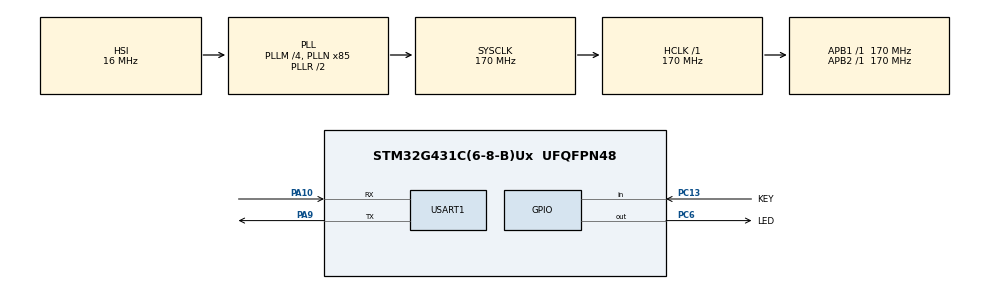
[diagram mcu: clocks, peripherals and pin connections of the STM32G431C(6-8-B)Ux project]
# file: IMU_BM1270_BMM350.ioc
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Dma.Request0=TIM1_UP
Dma.Request1=USART1_RX
Dma.Request2=USART1_TX
Dma.TIM1_UP.0.Direction=DMA_PERIPH_TO_MEMORY
Dma.TIM1_UP.0.EventEnable=DISABLE
Dma.TIM1_UP.0.Instance=DMA1_Channel2
Dma.TIM1_UP.0.MemDataAlignment=DMA_MDATAALIGN_HALFWORD
Dma.TIM1_UP.0.MemInc=DMA_MINC_ENABLE
Dma.TIM1_UP.0.Mode=DMA_NORMAL
Dma.TIM1_UP.0.PeriphDataAlignment=DMA_PDATAALIGN_HALFWORD
Dma.TIM1_UP.0.PeriphInc=DMA_PINC_DISABLE
Dma.TIM1_UP.0.Polarity=HAL_DMAMUX_REQ_GEN_RISING
Dma.TIM1_UP.0.Priority=DMA_PRIORITY_MEDIUM
Dma.TIM1_UP.0.RequestNumber=1
Dma.TIM1_UP.0.SignalID=NONE
Dma.TIM1_UP.0.SyncEnable=DISABLE
Dma.TIM1_UP.0.SyncPolarity=HAL_DMAMUX_SYNC_NO_EVENT
Dma.TIM1_UP.0.SyncRequestNumber=1
Dma.TIM1_UP.0.SyncSignalID=NONE
Dma.USART1_RX.1.Direction=DMA_PERIPH_TO_MEMORY
Dma.USART1_RX.1.EventEnable=DISABLE
Dma.USART1_RX.1.Instance=DMA1_Channel1
Dma.USART1_RX.1.MemDataAlignment=DMA_MDATAALIGN_BYTE
Dma.USART1_RX.1.MemInc=DMA_MINC_ENABLE
Dma.USART1_RX.1.Mode=DMA_NORMAL
Dma.USART1_RX.1.PeriphDataAlignment=DMA_PDATAALIGN_BYTE
Dma.USART1_RX.1.PeriphInc=DMA_PINC_DISABLE
Dma.USART1_RX.1.Polarity=HAL_DMAMUX_REQ_GEN_RISING
Dma.USART1_RX.1.Priority=DMA_PRIORITY_MEDIUM
Dma.USART1_RX.1.RequestNumber=1
Dma.USART1_RX.1.SignalID=NONE
Dma.USART1_RX.1.SyncEnable=DISABLE
Dma.USART1_RX.1.SyncPolarity=HAL_DMAMUX_SYNC_NO_EVENT
Dma.USART1_RX.1.SyncRequestNumber=1
Dma.USART1_RX.1.SyncSignalID=NONE
Dma.USART1_TX.2.Direction=DMA_MEMORY_TO_PERIPH
Dma.USART1_TX.2.EventEnable=DISABLE
Dma.USART1_TX.2.Instance=DMA1_Channel3
Dma.USART1_TX.2.MemDataAlignment=DMA_MDATAALIGN_BYTE
Dma.USART1_TX.2.MemInc=DMA_MINC_ENABLE
Dma.USART1_TX.2.Mode=DMA_NORMAL
Dma.USART1_TX.2.PeriphDataAlignment=DMA_PDATAALIGN_BYTE
Dma.USART1_TX.2.PeriphInc=DMA_PINC_DISABLE
Dma.USART1_TX.2.Polarity=HAL_DMAMUX_REQ_GEN_RISING
Dma.USART1_TX.2.Priority=DMA_PRIORITY_MEDIUM
Dma.USART1_TX.2.RequestNumber=1
Dma.USART1_TX.2.SignalID=NONE
Dma.USART1_TX.2.SyncEnable=DISABLE
Dma.USART1_TX.2.SyncPolarity=HAL_DMAMUX_SYNC_NO_EVENT
Dma.USART1_TX.2.SyncRequestNumber=1
Dma.USART1_TX.2.SyncSignalID=NONE
Mcu.Family=STM32G4
Mcu.Name=STM32G431C(6-8-B)Ux
Mcu.Package=UFQFPN48
NVIC.DMA1_Channel1_IRQn=true\:0\:0\:false\:false\:true\:false\:true\:true
NVIC.DMA1_Channel2_IRQn=true\:0\:0\:false\:false\:true\:false\:true\:true
NVIC.DMA1_Channel3_IRQn=true\:0\:0\:false\:false\:true\:false\:true\:true
NVIC.PriorityGroup=NVIC_PRIORITYGROUP_4
NVIC.TIM1_UP_TIM16_IRQn=true\:0\:0\:false\:false\:true\:true\:true\:true
NVIC.USART1_IRQn=true\:0\:0\:false\:false\:true\:true\:true\:true
PA10.Mode=Asynchronous
PA10.Signal=USART1_RX
PA13.Mode=Serial_Wire
PA13.Signal=SYS_JTMS-SWDIO
PA14.Mode=Serial_Wire
PA14.Signal=SYS_JTCK-SWCLK
PA9.Mode=Asynchronous
PA9.Signal=USART1_TX
PC13.GPIO_Label=KEY
PC13.GPIO_PuPd=GPIO_PULLDOWN
PC13.Signal=GPIO_Input
PC6.GPIO_Label=LED
PC6.Signal=GPIO_Output
PF0-OSC_IN.Mode=HSE-External-Oscillator
PF0-OSC_IN.Signal=RCC_OSC_IN
PF1-OSC_OUT.Mode=HSE-External-Oscillator
PF1-OSC_OUT.Signal=RCC_OSC_OUT
ProjectManager.HeapSize=0x200
ProjectManager.StackSize=0x400
ProjectManager.TargetToolchain=MDK-ARM V5.32
RCC.ADC12Freq_Value=170000000
RCC.AHBFreq_Value=170000000
RCC.APB1Freq_Value=170000000
RCC.APB1TimFreq_Value=170000000
RCC.APB2Freq_Value=170000000
RCC.APB2TimFreq_Value=170000000
RCC.CortexFreq_Value=170000000
RCC.EXTERNAL_CLOCK_VALUE=12288000
RCC.HCLKFreq_Value=170000000
RCC.HSE_VALUE=8000000
RCC.HSI48_VALUE=48000000
RCC.HSI_VALUE=16000000
RCC.I2C1CLockSelection=RCC_I2C1CLKSOURCE_HSI
RCC.I2C2CLockSelection=RCC_I2C2CLKSOURCE_HSI
RCC.LSE_VALUE=32768
RCC.PLLM=RCC_PLLM_DIV4
RCC.PLLN=85
RCC.SYSCLKFreq_VALUE=170000000
RCC.SYSCLKSource=RCC_SYSCLKSOURCE_PLLCLK
RCC.USBFreq_Value=170000000
RCC.VCOOutputFreq_Value=340000000
TIM1.CounterMode=TIM_COUNTERMODE_UP
TIM1.PeriodNoDither=9999
TIM1.Prescaler=16999
USART1.VirtualMode-Asynchronous=VM_ASYNC
VP_SYS_VS_DBSignals.Mode=DisableDeadBatterySignals
VP_TIM1_VS_ClockSourceINT.Mode=Internal
board=custom

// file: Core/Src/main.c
/* USER CODE BEGIN Header */
/**
  ******************************************************************************
  * @file           : main.c
  * @brief          : Main program body
  ******************************************************************************
  * @attention
  *
  * Copyright (c) 2025 STMicroelectronics.
  * All rights reserved.
  *
  * This software is licensed under terms that can be found in the LICENSE file
  * in the root directory of this software component.
  * If no LICENSE file comes with this software, it is provided AS-IS.
  *
  ******************************************************************************
  */
/* USER CODE END Header */
#include "main.h"
#include "dma.h"
#include "tim.h"
#include "usart.h"
#include "gpio.h"

/* USER CODE BEGIN Includes */
#include <string.h>
#include <math.h>
#include "usart_printf.h"
#include "delay.h"

#include "bmi270_bmm350.h"  // BMI270+BMM350库
#include "bmp5_port.h"      // BMP580库

#include "sensor_calibration.h"
#include "fusion_filter.h"  // 使用互补滤波器
#include "anony_protocol.h" // 匿名上位机协议
/* USER CODE END Includes */

/* USER CODE BEGIN PD */
#ifndef PI
#define PI 3.14159265358979323846f
#endif

#define DEG_TO_RAD (PI / 180.0f)
#define RAD_TO_DEG (180.0f / PI)

// 低通滤波器系数 (0-1，越小滤波越强)
#define ACCEL_FILTER 0.3f  // 加速度计滤波（很强）
#define GYRO_FILTER 0.5f   // 陀螺仪滤波（强）
#define MAG_FILTER 0.01f    // 磁力计滤波（非常强）
#define BARO_FILTER 0.01f   // 气压计滤波（很强）

/* USER CODE END PD */

/* USER CODE BEGIN PV */
uint8_t rx_buf[RX_BUF_SIZE];
uint8_t tx_buf[TX_BUF_SIZE];
volatile uint8_t tx_busy = 0; // 发送忙标志

// 姿态解算相关变量
static uint32_t last_update_time = 0;  // 上次更新时间
static uint8_t send_to_anony = 1;      // 是否发送到匿名上位机

// 滤波后的数据
float accel_filtered[3] = {0};
float gyro_filtered[3] = {0};
float mag_filtered[3] = {0};
float baro_alt_filtered = 0.0f;

// 校准参数
float gyro_bias[3] = {0};
float calib_gyro_offset[3] = {0};
float calib_accel_offset[3] = {0};
float calib_accel_scale[3] = {1.0f, 1.0f, 1.0f};
float calib_mag_offset[3] = {0};
float sea_level_pressure = 101325.0f;
float altitude_offset = 0.0f;

// 传感器控制
uint8_t use_magnetometer = 0;  // 默认不使用磁力计
uint8_t calibration_done = 0;  // 是否进行过校准

// 陀螺仪饱和检测
uint32_t gyro_saturate_count = 0;
uint32_t gyro_error_count = 0;

/* USER CODE END PV */

void SystemClock_Config(void);
/* USER CODE BEGIN PFP */
void perform_gyro_calibration(void);
/* USER CODE END PFP */

/* USER CODE BEGIN 0 */

/* 增强的陀螺仪校准函数 */
void perform_gyro_calibration(void)
{
    printf("Performing enhanced gyro calibration...\n");
    printf("Keep device ABSOLUTELY STILL!\n");

    imu_data_t imu_data;
    float gyro_sum[3] = {0};
    float gyro_min[3] = {1000, 1000, 1000};
    float gyro_max[3] = {-1000, -1000, -1000};
    int valid_samples = 0;

    // LED指示校准开始
    HAL_GPIO_WritePin(GPIOC, GPIO_PIN_6, GPIO_PIN_SET);

    // 等待3秒让设备完全静止
    for (int i = 3; i > 0; i--) {
        printf("Starting in %d seconds...\n", i);
        HAL_Delay(1000);
    }

    // 收集数据
    for (int i = 0; i < GYRO_CALIB_SAMPLES; i++) {
        if (IMU_ReadData(&imu_data) == BMI2_OK) {
            // 检查数据是否在合理范围内（静止时应该接近0）
            if (fabsf(imu_data.gyr_x) < 10.0f &&
                fabsf(imu_data.gyr_y) < 10.0f &&
                fabsf(imu_data.gyr_z) < 10.0f) {

                gyro_sum[0] += imu_data.gyr_x;
                gyro_sum[1] += imu_data.gyr_y;
                gyro_sum[2] += imu_data.gyr_z;

                // 记录最大最小值
                for (int j = 0; j < 3; j++) {
                    float val = (j == 0) ? imu_data.gyr_x : (j == 1) ? imu_data.gyr_y : imu_data.gyr_z;
                    if (val < gyro_min[j]) gyro_min[j] = val;
                    if (val > gyro_max[j]) gyro_max[j] = val;
                }

                valid_samples++;
            }
        }
        HAL_Delay(2);

        if (i % 300 == 0 && i > 0) {
            printf("Calibration progress: %d%%\n", i * 100 / GYRO_CALIB_SAMPLES);
        }
    }

    // 计算平均值
    if (valid_samples > GYRO_CALIB_SAMPLES * 0.8) {  // 至少80%的样本有效
        for (int i = 0; i < 3; i++) {
            gyro_bias[i] = gyro_sum[i] / valid_samples;
            float range = gyro_max[i] - gyro_min[i];

            printf("Axis %c - Bias: %.3f deg/s, Range: %.3f\n",
                   'X' + i, gyro_bias[i], range);

            // 如果范围太大，说明设备在移动
            if (range > 2.0f) {
                printf("WARNING: Axis %c shows movement! Recalibration recommended.\n", 'X' + i);
            }
        }
        printf("Valid samples: %d/%d (%.1f%%)\n",
               valid_samples, GYRO_CALIB_SAMPLES,
               (float)valid_samples * 100.0f / GYRO_CALIB_SAMPLES);
    } else {
        printf("ERROR: Not enough valid samples! (%d/%d)\n",
               valid_samples, GYRO_CALIB_SAMPLES);
        // 使用默认值
        gyro_bias[0] = gyro_bias[1] = gyro_bias[2] = 0.0f;
    }

    // LED指示校准完成
    HAL_GPIO_WritePin(GPIOC, GPIO_PIN_6, GPIO_PIN_RESET);
}

/* USER CODE END 0 */

int main(void)
{
  /* USER CODE BEGIN 1 */
  #pragma import(__use_no_semihosting)
  /* USER CODE END 1 */

  /* MCU Configuration--------------------------------------------------------*/

  /* Reset of all peripherals, Initializes the Flash interface and the Systick. */
  HAL_Init();

  /* Configure the system clock */
  SystemClock_Config();

  /* Initialize all configured peripherals */
  MX_GPIO_Init();
  MX_DMA_Init();
  MX_USART1_UART_Init();
  MX_TIM1_Init();
  /* USER CODE BEGIN 2 */
  // 启动串口DMA接收
  HAL_UART_Receive_DMA(&huart1, rx_buf, RX_BUF_SIZE);

  // 启动串口中断
  __HAL_UART_ENABLE_IT(&huart1, UART_IT_IDLE);

  DWT_Delay_Init(); // 初始化DWT延时
  usart_printf_init(&huart1);

  printf("\n\n========================================\n");
  printf("Multi-Sensor Fusion Program v2.0\n");
  printf("- Madgwick filter algorithm\n");
  printf("- Enhanced gyro calibration\n");
  printf("- Drift compensation\n");
  printf("========================================\n\n");

  /* 初始化BMI270 */
  printf("Initializing BMI270 (I2C1)...\n");
  int8_t imu_status = IMU_Init(1);
  if (imu_status != BMI2_OK) {
      printf("BMI270 initialization failed!\n");
      while(1);  // 停止执行
  } else {
      printf("BMI270 initialization successful!\n");
  }

  /* 初始化BMP580 */
  printf("\nInitializing BMP580 (I2C2)...\n");
  int8_t bmp_status = BMP580_Init();
  if (bmp_status != BMP5_OK) {
      printf("BMP580 initialization failed!\n");
  } else {
      printf("BMP580 initialization successful!\n");
  }

  /* 校准检查和执行 */
  printf("\n=== Calibration Check ===\n");

  // 检查现有校准数据
  if (sensor_has_valid_calibration()) {
      printf("Valid calibration data found!\n");
      sensor_get_calibration_status();
      calibration_done = 1;
      printf("Press CAL_KEY within 3 seconds to recalibrate...\n");
  } else {
      printf("No calibration data found.\n");
      printf("Press CAL_KEY within 3 seconds to calibrate...\n");
  }

  // 等待按键检测
  uint32_t calib_wait_start = HAL_GetTick();
  uint8_t calib_key_pressed = 0;

  while (HAL_GetTick() - calib_wait_start < 3000) {
      if (HAL_GPIO_ReadPin(GPIOC, GPIO_PIN_13) == GPIO_PIN_SET) {
          HAL_Delay(20); // 防抖
          if (HAL_GPIO_ReadPin(GPIOC, GPIO_PIN_13) == GPIO_PIN_SET) {
              calib_key_pressed = 1;

              // LED确认
              HAL_GPIO_WritePin(GPIOC, GPIO_PIN_6, GPIO_PIN_SET);
              HAL_Delay(300);
              HAL_GPIO_WritePin(GPIOC, GPIO_PIN_6, GPIO_PIN_RESET);

              // 等待按键释放
              while(HAL_GPIO_ReadPin(GPIOC, GPIO_PIN_13) == GPIO_PIN_SET);
              break;
          }
      }
  }

  // 执行校准流程
  if (calib_key_pressed) {
      printf("\n=== Starting Calibration ===\n");

      // 选择校准类型
      uint8_t calib_type = 1; // 默认完整校准

      if (calibration_done) {
          // 已有校准数据，提供选择
          printf("1. Full calibration (all sensors)\n");
          printf("2. Quick gyro calibration only\n");
          printf("Press CAL_KEY again within 3s to select quick mode...\n");

          uint32_t select_start = HAL_GetTick();
          while (HAL_GetTick() - select_start < 3000) {
              if (HAL_GPIO_ReadPin(GPIOC, GPIO_PIN_13) == GPIO_PIN_SET) {
                  HAL_Delay(20);
                  if (HAL_GPIO_ReadPin(GPIOC, GPIO_PIN_13) == GPIO_PIN_SET) {
                      calib_type = 2; // 快速校准
                      printf("Quick calibration selected!\n");

                      // LED快闪确认
                      for (int i = 0; i < 3; i++) {
                          HAL_GPIO_WritePin(GPIOC, GPIO_PIN_6, GPIO_PIN_SET);
                          HAL_Delay(100);
                          HAL_GPIO_WritePin(GPIOC, GPIO_PIN_6, GPIO_PIN_RESET);
                          HAL_Delay(100);
                      }

                      while(HAL_GPIO_ReadPin(GPIOC, GPIO_PIN_13) == GPIO_PIN_SET);
                      break;
                  }
              }
          }
      }

      // 执行校准
      int calib_result = -1;

      if (calib_type == 2) {
          printf("Starting quick gyro calibration...\n");
          calib_result = sensor_quick_gyro_calibration();
      } else {
          printf("Starting full sensor calibration...\n");
          calib_result = sensor_simple_calibration();
      }

      // 处理校准结果
      if (calib_result == 0) {
          printf("\n*** Calibration SUCCESS! ***\n");
          calibration_done = 1;

          // LED长亮表示成功
          HAL_GPIO_WritePin(GPIOC, GPIO_PIN_6, GPIO_PIN_SET);
          HAL_Delay(2000);
          HAL_GPIO_WritePin(GPIOC, GPIO_PIN_6, GPIO_PIN_RESET);

          // 显示校准结果
          sensor_get_calibration_status();

            } else {
          printf("\n*** Calibration FAILED! ***\n");

          // LED快闪表示失败
          for (int i = 0; i < 5; i++) {
              HAL_GPIO_WritePin(GPIOC, GPIO_PIN_6, GPIO_PIN_SET);
              HAL_Delay(200);
              HAL_GPIO_WritePin(GPIOC, GPIO_PIN_6, GPIO_PIN_RESET);
              HAL_Delay(200);
          }
      }

  } else {
      // 没有按键，跳过校准
      if (calibration_done) {
          printf("Using existing calibration data.\n");
      } else {
          printf("No calibration performed. Using raw sensor data.\n");
      }
  }

  /* 初始化Madgwick滤波器 */
  printf("\n=== Initializing Madgwick Filter ===\n");
  fusion_init();

  // 设置滤波器参数 - 使用保守的增益
  fusion_set_params(0.98f, 0.02f, 0.01f);
  printf("Madgwick beta parameter set to 0.033\n");

  // 进行初始陀螺仪校准
  printf("\n=== Performing Initial Gyro Calibration ===\n");
  printf("This is critical for drift prevention.\n");
  perform_gyro_calibration();

  // 设置陀螺仪偏差
  fusion_set_gyro_bias(gyro_bias);

  // 默认不使用磁力计
  fusion_use_magnetometer(0);

  printf("\n--- Starting Sensor Fusion ---\n");
  printf("Keep device stationary for 3 seconds to initialize...\n");

  // 静止初始化阶段
  HAL_Delay(3000);

  // 加载校准参数
  if (calibration_done) {
      calib_get_gyro_offset(calib_gyro_offset);
      calib_get_accel_offset(calib_accel_offset);
      calib_get_accel_scale(calib_accel_scale);
      calib_get_mag_offset(calib_mag_offset);
      sea_level_pressure = calib_get_sea_level_pressure();
      altitude_offset = calib_get_altitude_offset();

      printf("Calibration data loaded successfully\n");
  }

  printf("System ready! Press KEY to toggle magnetometer.\n\n");

  /* 数据结构体 */
  imu_data_t imu_data;
  float temperature = 25.0f;
  float pressure = 101325.0f;

  // 初始化滤波器变量
  memset(accel_filtered, 0, sizeof(accel_filtered));
  memset(gyro_filtered, 0, sizeof(gyro_filtered));
  memset(mag_filtered, 0, sizeof(mag_filtered));

  /* USER CODE END 2 */

  /* Infinite loop */
  while (1)
  {

    /* USER CODE BEGIN 3 */

    // 计算时间间隔
    uint32_t current_time = HAL_GetTick();
    float dt = (current_time - last_update_time) / 1000.0f;  // 转换为秒

    // 限制dt范围，防止大跳变
    if (last_update_time == 0 || dt > 0.1f || dt < 0.001f) {
        dt = 0.02f;  // 默认20ms
    }
    last_update_time = current_time;

    /* 读取传感器数据 */
    if (IMU_ReadData(&imu_data) == BMI2_OK) {

        // 读取BMP580气压计数据（如果可用）
        float baro_altitude = 0.0f;
        if (BMP580_ReadData(&temperature, &pressure) == BMP5_OK) {
            // 计算高度
            baro_altitude = 44330.0f * (1.0f - powf(pressure / 101325.0f, 1.0f/5.255f));

            // 应用滤波
            if (baro_alt_filtered == 0.0f) {
                baro_alt_filtered = baro_altitude;
            } else {
                baro_alt_filtered = baro_alt_filtered * (1.0f - BARO_FILTER) + baro_altitude * BARO_FILTER;
            }
        }

        /* 应用校准和滤波 */

        // 检查陀螺仪饱和
        if (fabsf(imu_data.gyr_x) > 1900.0f ||
            fabsf(imu_data.gyr_y) > 1900.0f ||
            fabsf(imu_data.gyr_z) > 1900.0f) {
            // 陀螺仪饱和，可能会导致积分误差
            gyro_saturate_count++;
            if (gyro_saturate_count % 100 == 0) {
                printf("WARNING: Gyroscope saturation detected! (%lu)\n", gyro_saturate_count);
            }
        }

        // 0. 应用陀螺仪零偏校正（从初始化阶段获得的）
        imu_data.gyr_x -= gyro_bias[0];
        imu_data.gyr_y -= gyro_bias[1];
        imu_data.gyr_z -= gyro_bias[2];

        // 1. 应用额外校准参数（如果有）
        if (calibration_done) {
            // 应用额外的陀螺仪校准
            imu_data.gyr_x -= calib_gyro_offset[0];
            imu_data.gyr_y -= calib_gyro_offset[1];
            imu_data.gyr_z -= calib_gyro_offset[2];

            // 应用加速度计校准
            imu_data.acc_x = (imu_data.acc_x - calib_accel_offset[0]) * calib_accel_scale[0];
            imu_data.acc_y = (imu_data.acc_y - calib_accel_offset[1]) * calib_accel_scale[1];
            imu_data.acc_z = (imu_data.acc_z - calib_accel_offset[2]) * calib_accel_scale[2];

            // 应用磁力计校准
            imu_data.mag_x -= calib_mag_offset[0];
            imu_data.mag_y -= calib_mag_offset[1];
            imu_data.mag_z -= calib_mag_offset[2];
        }

        // 2. 初始化滤波器（只在第一次运行时）
        static uint8_t first_run = 1;
        if (first_run) {
            accel_filtered[0] = imu_data.acc_x;
            accel_filtered[1] = imu_data.acc_y;
            accel_filtered[2] = imu_data.acc_z;

            gyro_filtered[0] = imu_data.gyr_x;
            gyro_filtered[1] = imu_data.gyr_y;
            gyro_filtered[2] = imu_data.gyr_z;

            mag_filtered[0] = imu_data.mag_x;
            mag_filtered[1] = imu_data.mag_y;
            mag_filtered[2] = imu_data.mag_z;

            first_run = 0;
        }

        // 3. 应用低通滤波
        accel_filtered[0] = accel_filtered[0] * (1.0f - ACCEL_FILTER) + imu_data.acc_x * ACCEL_FILTER;
        accel_filtered[1] = accel_filtered[1] * (1.0f - ACCEL_FILTER) + imu_data.acc_y * ACCEL_FILTER;
        accel_filtered[2] = accel_filtered[2] * (1.0f - ACCEL_FILTER) + imu_data.acc_z * ACCEL_FILTER;

        gyro_filtered[0] = gyro_filtered[0] * (1.0f - GYRO_FILTER) + imu_data.gyr_x * GYRO_FILTER;
        gyro_filtered[1] = gyro_filtered[1] * (1.0f - GYRO_FILTER) + imu_data.gyr_y * GYRO_FILTER;
        gyro_filtered[2] = gyro_filtered[2] * (1.0f - GYRO_FILTER) + imu_data.gyr_z * GYRO_FILTER;

        mag_filtered[0] = mag_filtered[0] * (1.0f - MAG_FILTER) + imu_data.mag_x * MAG_FILTER;
        mag_filtered[1] = mag_filtered[1] * (1.0f - MAG_FILTER) + imu_data.mag_y * MAG_FILTER;
        mag_filtered[2] = mag_filtered[2] * (1.0f - MAG_FILTER) + imu_data.mag_z * MAG_FILTER;

        /* 更新Madgwick滤波器姿态估计 */

        // 准备传感器数据
        float acc[3] = {accel_filtered[0], accel_filtered[1], accel_filtered[2]};
        float gyro[3] = {gyro_filtered[0], gyro_filtered[1], gyro_filtered[2]};
        float *mag_ptr = NULL;  // 默认不使用磁力计

        // 只有在启用且磁场强度合理时使用磁力计
        if (use_magnetometer) {
            float mag_norm = sqrtf(mag_filtered[0]*mag_filtered[0] +
                                 mag_filtered[1]*mag_filtered[1] +
                                 mag_filtered[2]*mag_filtered[2]);

            if (mag_norm > 5.0f && mag_norm < 100.0f) {
                mag_ptr = mag_filtered;
            } else {
                static uint32_t mag_error_count = 0;
                if (++mag_error_count % 100 == 0) {
                    printf("Mag field strength abnormal: %.1f uT\n", mag_norm);
                }
            }
        }

        // 更新融合滤波器
        fusion_update(acc, gyro, mag_ptr, baro_alt_filtered, dt);

        // 获取融合后的姿态
        attitude_data_t attitude = fusion_get_attitude();

        // 发送姿态角到匿名上位机（10Hz）
        static uint8_t send_count = 0;
        if (++send_count >= 5) {  // 每100ms发送一次（10Hz）
            send_count = 0;

            // 发送姿态数据
            ANO_Send_Attitude(attitude.roll, attitude.pitch, attitude.yaw);

            // 发送传感器原始数据
            int16_t acc_i16[3], gyro_i16[3], mag_i16[3];

            // 将浮点数转换为整数
            for (int i = 0; i < 3; i++) {
                acc_i16[i] = (int16_t)(accel_filtered[i] * 100.0f);  // cm/s²
                gyro_i16[i] = (int16_t)(gyro_filtered[i] * 10.0f);   // 0.1°/s
                mag_i16[i] = (int16_t)(mag_filtered[i]);             // uT
            }

            ANO_Send_Sensor(acc_i16[0], acc_i16[1], acc_i16[2],
                           gyro_i16[0], gyro_i16[1], gyro_i16[2],
                           mag_i16[0], mag_i16[1], mag_i16[2]);

            // 发送用户数据
            ANO_Send_UserData(attitude.confidence * 100.0f,  // 融合置信度
                             temperature,                    // 温度
                             baro_alt_filtered,              // 高度
                             gyro_bias[0],                   // X轴陀螺仪偏差
                             gyro_bias[1]);                  // Y轴陀螺仪偏差
        }

//        // 串口打印（1Hz）
//        static uint32_t print_count = 0;
//        if (++print_count >= 50) {  // 每1秒打印一次
//            print_count = 0;
//
//            printf("Att[R:%5.1f P:%5.1f Y:%5.1f] ",
//                   attitude.roll, attitude.pitch, attitude.yaw);
//
//            printf("Gyr[%5.2f %5.2f %5.2f] ",
//                   gyro_filtered[0], gyro_filtered[1], gyro_filtered[2]);
//
//            printf("Bias[%5.2f %5.2f %5.2f] ",
//                   gyro_bias[0], gyro_bias[1], gyro_bias[2]);
//
//            if (use_magnetometer) {
//                printf("Mag[ON] ");
//            } else {
//                printf("Mag[OFF] ");
//            }
//
//            printf("%s\n", fusion_get_debug_info());
//        }

        // 按键检测 - 切换磁力计使用状态
        if (HAL_GPIO_ReadPin(GPIOC, GPIO_PIN_13) == GPIO_PIN_SET) {
            HAL_Delay(50); // 防抖
            if (HAL_GPIO_ReadPin(GPIOC, GPIO_PIN_13) == GPIO_PIN_SET) {
                // 切换磁力计使用状态
                use_magnetometer = !use_magnetometer;
                fusion_use_magnetometer(use_magnetometer);

                printf("\n*** Magnetometer %s ***\n",
                       use_magnetometer ? "ENABLED" : "DISABLED");

                // LED指示
                for (int i = 0; i < (use_magnetometer ? 2 : 4); i++) {
                    HAL_GPIO_TogglePin(GPIOC, GPIO_PIN_6);
                    HAL_Delay(10);
                }

                // 等待按键释放
                while (HAL_GPIO_ReadPin(GPIOC, GPIO_PIN_13) == GPIO_PIN_SET) {
                    HAL_Delay(10);
                }
            }
        }

        // LED心跳指示
        static uint32_t led_count = 0;
        if (++led_count >= 25) {  // 每500ms闪烁一次
            led_count = 0;
            HAL_GPIO_TogglePin(GPIOC, GPIO_PIN_6);
        }
    } else {
        // 传感器读取失败
        if (++gyro_error_count % 100 == 0) {
            printf("ERROR: IMU read failed! (%lu)\n", gyro_error_count);

            // 尝试重新初始化IMU
            if (gyro_error_count >= 1000) {
                printf("Attempting to reinitialize IMU...\n");
                IMU_Init(1);
                gyro_error_count = 0;
            }
        }
        //HAL_Delay(10);
    }

    // 主循环延时 - 降低延时以获得更高的更新率
    //HAL_Delay(10);  // 10ms，100Hz主循环

  } /* while循环结束 */
  /* USER CODE END 3 */
}

void SystemClock_Config(void)
{
  RCC_OscInitTypeDef RCC_OscInitStruct = {0};
  RCC_ClkInitTypeDef RCC_ClkInitStruct = {0};

  /** Configure the main internal regulator output voltage
  */
  HAL_PWREx_ControlVoltageScaling(PWR_REGULATOR_VOLTAGE_SCALE1_BOOST);

  /** Initializes the RCC Oscillators according to the specified parameters
  * in the RCC_OscInitTypeDef structure.
  */
  RCC_OscInitStruct.OscillatorType = RCC_OSCILLATORTYPE_HSI;
  RCC_OscInitStruct.HSIState = RCC_HSI_ON;
  RCC_OscInitStruct.HSICalibrationValue = RCC_HSICALIBRATION_DEFAULT;
  RCC_OscInitStruct.PLL.PLLState = RCC_PLL_ON;
  RCC_OscInitStruct.PLL.PLLSource = RCC_PLLSOURCE_HSI;
  RCC_OscInitStruct.PLL.PLLM = RCC_PLLM_DIV4;
  RCC_OscInitStruct.PLL.PLLN = 85;
  RCC_OscInitStruct.PLL.PLLP = RCC_PLLP_DIV2;
  RCC_OscInitStruct.PLL.PLLQ = RCC_PLLQ_DIV2;
  RCC_OscInitStruct.PLL.PLLR = RCC_PLLR_DIV2;
  if (HAL_RCC_OscConfig(&RCC_OscInitStruct) != HAL_OK)
  {
    Error_Handler();
  }

  /** Initializes the CPU, AHB and APB buses clocks
  */
  RCC_ClkInitStruct.ClockType = RCC_CLOCKTYPE_HCLK|RCC_CLOCKTYPE_SYSCLK
                              |RCC_CLOCKTYPE_PCLK1|RCC_CLOCKTYPE_PCLK2;
  RCC_ClkInitStruct.SYSCLKSource = RCC_SYSCLKSOURCE_PLLCLK;
  RCC_ClkInitStruct.AHBCLKDivider = RCC_SYSCLK_DIV1;
  RCC_ClkInitStruct.APB1CLKDivider = RCC_HCLK_DIV1;
  RCC_ClkInitStruct.APB2CLKDivider = RCC_HCLK_DIV1;

  if (HAL_RCC_ClockConfig(&RCC_ClkInitStruct, FLASH_LATENCY_4) != HAL_OK)
  {
    Error_Handler();
  }
}

/* USER CODE BEGIN 4 */
void UART1_IDLE_Callback(uint16_t len)
{
    if(len > 0)
    {
        HAL_UART_Transmit(&huart1, rx_buf, len, 100);
        memset(rx_buf, 0, RX_BUF_SIZE); // 清空缓存
    }
}
/* USER CODE END 4 */

void Error_Handler(void)
{
  __disable_irq();
  while (1)
  {
  }
}
